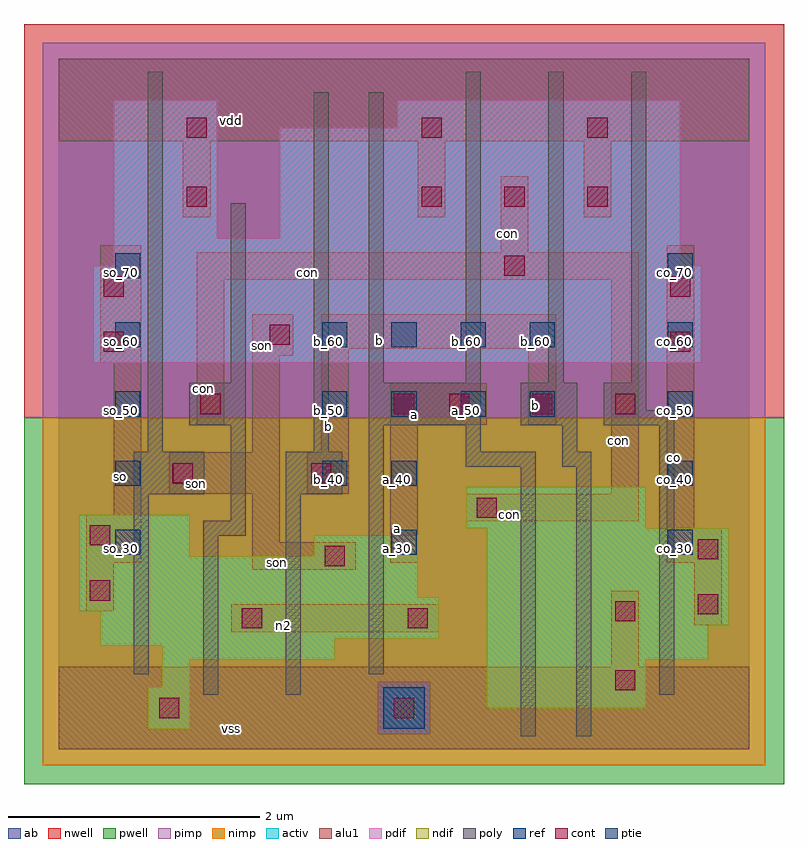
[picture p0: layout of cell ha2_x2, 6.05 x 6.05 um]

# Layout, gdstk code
import gdstk
lib = gdstk.Library(unit=1e-6, precision=2.5e-09)
def R(c, l, rs):  # rectangles x0, y0, x1, y1
    for r in rs: c.add(gdstk.rectangle(r[:2], r[2:], *l))
def A(c, l, x, y, w, h, nx, ny, dx, dy):  # array of equal rectangles
    R(c, l, [(x+i*dx, y+j*dy, x+i*dx+w, y+j*dy+h) for i in range(nx) for j in range(ny)])
ndif = (3, 0)
pdif = (4, 0)
ptie = (6, 0)
ref = (24, 0)
cont = (25, 0)
pwell = (41, 0)
nwell = (42, 0)
activ = (43, 0)
pimp = (44, 0)
nimp = (45, 0)
poly = (46, 0)
alu1 = (49, 0)
ab = (63, 0)

ha2_x2 = lib.new_cell('ha2_x2')
R(ha2_x2, ndif, [(0.715,0.165,1.045,0.495), (3.41,0.33,4.675,0.715), (0.825,0.495,1.045,0.715), (0.825,0.715,2.2,0.825), (3.41,0.715,5.17,0.99), (0.33,0.825,2.2,0.88), (0.33,0.88,3.025,1.1), (3.41,0.99,5.335,1.76), (0.165,1.1,3.025,1.21), (0.165,1.21,2.86,1.54), (0.165,1.54,1.045,1.87), (2.035,1.54,2.86,1.705), (3.245,1.76,4.675,2.09)])
R(ha2_x2, pdif, [(0.275,3.08,5.115,3.85), (0.44,3.85,4.95,4.07), (0.44,4.07,1.265,5.17), (1.76,4.07,4.95,4.95), (2.695,4.95,4.95,5.17)])
R(ha2_x2, ptie, [(2.585,0.165,2.915,0.495)])
A(ha2_x2, ref, 0.45, 1.55, 0.2, 0.2, 3, 1, 2.2, 0)
A(ha2_x2, ref, 0.45, 2.1, 0.2, 0.2, 1, 4, 0, 0.55)
A(ha2_x2, ref, 4.85, 2.1, 0.2, 0.2, 1, 4, 0, 0.55)
A(ha2_x2, ref, 2.1, 2.65, 0.2, 0.2, 4, 2, 0.55, 0.55)
R(ha2_x2, ref, [(2.1,2.1,2.3,2.3), (2.65,2.1,2.85,2.3)])
A(ha2_x2, cont, 3.11, 2.67, 0.16, 0.16, 3, 1, 0.66, 0)
A(ha2_x2, cont, 2.89, 4.32, 0.16, 0.16, 3, 1, 0.66, 0)
R(ha2_x2, cont, [(0.8,0.25,0.96,0.41), (2.67,0.25,2.83,0.41), (4.43,0.47,4.59,0.63), (1.46,0.965,1.62,1.125), (2.78,0.965,2.94,1.125), (4.43,1.02,4.59,1.18), (5.09,1.075,5.25,1.235), (0.25,1.185,0.41,1.345), (2.12,1.46,2.28,1.62), (5.09,1.515,5.25,1.675), (0.25,1.625,0.41,1.785), (3.33,1.845,3.49,2.005), (0.91,2.12,1.07,2.28), (2.01,2.12,2.17,2.28), (1.13,2.67,1.29,2.83), (2.67,2.67,2.83,2.83), (0.36,3.165,0.52,3.325), (4.87,3.165,5.03,3.325), (1.68,3.22,1.84,3.38), (0.36,3.605,0.52,3.765), (4.87,3.605,5.03,3.765), (3.55,3.77,3.71,3.93), (1.02,4.32,1.18,4.48), (1.02,4.87,1.18,5.03), (2.89,4.87,3.05,5.03), (4.21,4.87,4.37,5.03)])
R(ha2_x2, pwell, [(-0.275,-0.275,5.775,2.64)])
R(ha2_x2, nwell, [(-0.275,2.64,5.775,5.775)])
R(ha2_x2, activ, [(0.715,0.165,1.045,0.495), (2.585,0.165,2.915,0.495), (3.41,0.33,4.675,0.715), (0.825,0.495,1.045,0.715), (0.825,0.715,2.2,0.825), (3.41,0.715,5.17,0.99), (0.33,0.825,2.2,0.88), (0.33,0.88,3.025,1.1), (3.41,0.99,5.335,1.76), (0.165,1.1,3.025,1.21), (0.165,1.21,2.86,1.54), (0.165,1.54,1.045,1.87), (2.035,1.54,2.86,1.705), (3.245,1.76,4.675,2.09), (0.275,3.08,5.115,3.85), (0.44,3.85,4.95,4.07), (0.44,4.07,1.265,5.17), (1.76,4.07,4.95,4.95), (2.695,4.95,4.95,5.17)])
R(ha2_x2, pimp, [(2.545,0.125,2.955,0.535), (-0.125,2.64,5.625,5.625)])
R(ha2_x2, nimp, [(-0.125,-0.125,5.625,0.125), (-0.125,0.125,2.545,0.535), (2.955,0.125,5.625,0.535), (-0.125,0.535,5.625,2.64)])
A(ha2_x2, poly, 3.24, 2.92, 0.12, 2.475, 3, 1, 0.66, 0)
R(ha2_x2, poly, [(3.68,0.105,3.8,2.25), (4.12,0.105,4.24,2.25), (1.15,0.435,1.27,1.7), (1.81,0.435,1.93,2.03), (4.78,0.435,4.9,2.58), (0.6,0.6,0.72,2.03), (2.47,0.6,2.59,2.58), (1.15,1.7,1.49,1.82), (1.37,1.82,1.49,2.58), (0.6,2.03,1.16,2.37), (1.81,2.03,2.26,2.37), (3.24,2.25,3.8,2.37), (4.01,2.25,4.24,2.37), (0.71,2.37,0.83,5.395), (2.03,2.37,2.15,5.23), (3.24,2.37,3.36,2.58), (4.01,2.37,4.13,2.58), (1.04,2.58,1.49,2.92), (2.47,2.58,3.36,2.92), (3.68,2.58,4.13,2.92), (4.34,2.58,4.9,2.7), (4.34,2.7,4.68,2.92), (1.37,2.92,1.49,4.35), (2.47,2.92,2.59,5.23)])
R(ha2_x2, alu1, [(0,0,5.5,0.66), (4.4,0.66,4.62,1.265), (1.375,0.935,3.025,1.155), (5.06,0.99,5.28,1.485), (0.22,1.1,0.44,1.485), (1.54,1.43,2.365,1.65), (0.22,1.485,0.66,1.87), (2.64,1.485,2.86,2.585), (4.84,1.485,5.28,1.76), (1.54,1.65,1.76,2.035), (4.84,1.76,5.06,4.015), (3.245,1.815,4.62,2.035), (0.44,1.87,0.66,3.08), (0.88,2.035,1.76,2.365), (1.98,2.035,2.31,2.365), (4.4,2.035,4.62,3.74), (1.54,2.365,1.76,3.135), (2.09,2.365,2.31,3.19), (1.1,2.585,1.32,3.74), (2.64,2.585,3.41,2.915), (3.74,2.585,3.96,3.19), (0.33,3.08,0.66,4.015), (1.54,3.135,1.87,3.465), (2.09,3.19,3.96,3.465), (1.1,3.74,4.62,3.96), (3.52,3.96,3.74,4.565), (0.99,4.235,1.21,4.84), (2.86,4.235,3.08,4.84), (4.18,4.235,4.4,4.84), (0,4.84,5.5,5.5)])
R(ha2_x2, ab, [(0,0,5.5,5.5)])
ha2_x2.add(gdstk.Label('vss', (1.375,0.165), layer=49, texttype=0))
ha2_x2.add(gdstk.Label('n2', (1.7875,0.99), layer=49, texttype=0))
ha2_x2.add(gdstk.Label('co', (4.895,2.3225), layer=49, texttype=0))
ha2_x2.add(gdstk.Label('con', (3.5875,1.87), layer=49, texttype=0))
ha2_x2.add(gdstk.Label('con', (4.455,2.46), layer=49, texttype=0))
ha2_x2.add(gdstk.Label('a', (2.695,1.76), layer=49, texttype=0))
ha2_x2.add(gdstk.Label('son', (1.745,1.485), layer=49, texttype=0))
ha2_x2.add(gdstk.Label('b', (3.795,2.735), layer=49, texttype=0))
ha2_x2.add(gdstk.Label('a', (2.8325,2.6675), layer=49, texttype=0))
ha2_x2.add(gdstk.Label('son', (1.1,2.1175), layer=49, texttype=0))
ha2_x2.add(gdstk.Label('b', (2.145,2.57), layer=49, texttype=0))
ha2_x2.add(gdstk.Label('b', (2.5575,3.2575), layer=49, texttype=0))
ha2_x2.add(gdstk.Label('son', (1.6225,3.2175), layer=49, texttype=0))
ha2_x2.add(gdstk.Label('con', (1.155,2.8725), layer=49, texttype=0))
ha2_x2.add(gdstk.Label('con', (1.98,3.795), layer=49, texttype=0))
ha2_x2.add(gdstk.Label('so', (0.495,2.1725), layer=49, texttype=0))
ha2_x2.add(gdstk.Label('con', (3.575,4.11), layer=49, texttype=0))
ha2_x2.add(gdstk.Label('vdd', (1.375,5.005), layer=49, texttype=0))
ha2_x2.add(gdstk.Label('so_30', (0.5,1.6), layer=24, texttype=0))
ha2_x2.add(gdstk.Label('so_40', (0.5,2.15), layer=24, texttype=0))
ha2_x2.add(gdstk.Label('so_50', (0.5,2.7), layer=24, texttype=0))
ha2_x2.add(gdstk.Label('so_60', (0.5,3.25), layer=24, texttype=0))
ha2_x2.add(gdstk.Label('so_70', (0.5,3.8), layer=24, texttype=0))
ha2_x2.add(gdstk.Label('co_70', (4.9,3.8), layer=24, texttype=0))
ha2_x2.add(gdstk.Label('co_60', (4.9,3.25), layer=24, texttype=0))
ha2_x2.add(gdstk.Label('co_50', (4.9,2.7), layer=24, texttype=0))
ha2_x2.add(gdstk.Label('co_40', (4.9,2.15), layer=24, texttype=0))
ha2_x2.add(gdstk.Label('b_60', (2.15,3.25), layer=24, texttype=0))
ha2_x2.add(gdstk.Label('b_40', (2.15,2.15), layer=24, texttype=0))
ha2_x2.add(gdstk.Label('b_50', (2.15,2.7), layer=24, texttype=0))
ha2_x2.add(gdstk.Label('b_60', (3.8,3.25), layer=24, texttype=0))
ha2_x2.add(gdstk.Label('b_60', (2.7,3.25), layer=24, texttype=0))
ha2_x2.add(gdstk.Label('b_60', (3.25,3.25), layer=24, texttype=0))
ha2_x2.add(gdstk.Label('b_50', (3.8,2.7), layer=24, texttype=0))
ha2_x2.add(gdstk.Label('a_50', (2.7,2.7), layer=24, texttype=0))
ha2_x2.add(gdstk.Label('a_30', (2.7,1.6), layer=24, texttype=0))
ha2_x2.add(gdstk.Label('a_40', (2.7,2.15), layer=24, texttype=0))
ha2_x2.add(gdstk.Label('co_30', (4.9,1.6), layer=24, texttype=0))
ha2_x2.add(gdstk.Label('a_50', (3.25,2.7), layer=24, texttype=0))

lib.write_gds('ha2_x2.gds')
